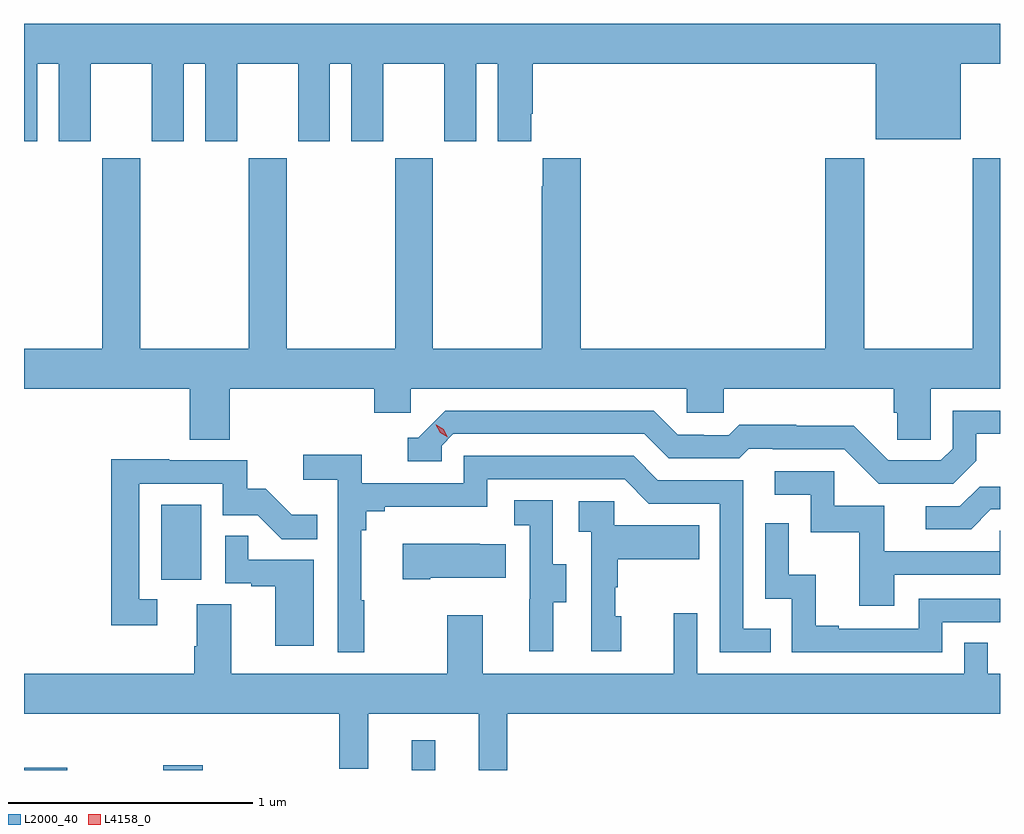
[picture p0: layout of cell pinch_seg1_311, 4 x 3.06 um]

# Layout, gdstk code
import gdstk
lib = gdstk.Library(unit=1e-6, precision=1e-09)
def R(c, l, rs):  # rectangles x0, y0, x1, y1
    for r in rs: c.add(gdstk.rectangle(r[:2], r[2:], *l))
def P(c, l, *ps):  # polygons
    for p in ps: c.add(gdstk.Polygon(p, *l))
L2000_40 = (2000, 40)
L4158_0 = (4158, 0)

pinch_seg1_311 = lib.new_cell('pinch_seg1_311')
R(pinch_seg1_311, L2000_40, [(999.256,547.505,999.433,547.516), (999.827,547.505,999.988,547.525), (1000.845,547.505,1000.942,547.627), (999.818,548.286,999.982,548.593)])
P(pinch_seg1_311, L2000_40, [(999.256,550.083),(999.31,550.083),(999.31,550.4),(999.398,550.4),(999.398,550.083),(999.529,550.083),(999.529,550.4),(999.779,550.4),(999.779,550.083),(999.91,550.083),(999.91,550.4),(999.998,550.4),(999.998,550.083),(1000.129,550.083),(1000.129,550.4),(1000.379,550.4),(1000.379,550.083),(1000.51,550.083),(1000.51,550.4),(1000.598,550.4),(1000.598,550.083),(1000.729,550.083),(1000.729,550.4),(1000.979,550.4),(1000.979,550.083),(1001.11,550.083),(1001.11,550.4),(1001.198,550.4),(1001.198,550.083),(1001.335,550.083),(1001.335,550.195),(1001.342,550.195),(1001.342,550.4),(1002.746,550.4),(1002.746,550.091),(1003.096,550.091),(1003.096,550.4),(1003.256,550.4),(1003.256,550.564),(999.256,550.564)],
  [(1000.1,549.068),(1000.691,549.068),(1000.691,548.97),(1000.842,548.97),(1000.842,549.068),(1001.973,549.068),(1001.973,548.97),(1002.123,548.97),(1002.123,549.068),(1002.821,549.068),(1002.821,548.97),(1002.835,548.97),(1002.835,548.86),(1002.972,548.86),(1002.972,549.068),(1003.256,549.068),(1003.256,550.012),(1003.144,550.012),(1003.144,549.232),(1002.699,549.232),(1002.699,550.012),(1002.539,550.012),(1002.539,549.232),(1001.537,549.232),(1001.537,550.012),(1001.381,550.012),(1001.381,549.899),(1001.377,549.899),(1001.377,549.232),(1000.932,549.232),(1000.932,550.012),(1000.777,550.012),(1000.777,549.232),(1000.332,549.232),(1000.332,550.012),(1000.177,550.012),(1000.177,549.232),(999.732,549.232),(999.732,550.012),(999.577,550.012),(999.577,549.232),(999.256,549.232),(999.256,549.068),(999.935,549.068),(999.935,548.86),(1000.1,548.86)],
  [(1003.159,548.773),(1003.159,548.883),(1003.256,548.883),(1003.256,548.979),(1003.062,548.979),(1003.062,548.823),(1003.014,548.775),(1002.798,548.775),(1002.656,548.917),(1002.42,548.917),(1002.42,548.92),(1002.187,548.92),(1002.145,548.877),(1002.042,548.877),(1002.042,548.88),(1001.935,548.88),(1001.836,548.979),(1000.983,548.979),(1000.872,548.868),(1000.829,548.868),(1000.829,548.772),(1000.968,548.772),(1000.968,548.835),(1001.016,548.883),(1001.799,548.883),(1001.898,548.784),(1002.187,548.784),(1002.226,548.823),(1002.325,548.823),(1002.325,548.82),(1002.618,548.82),(1002.759,548.679),(1003.065,548.679)],
  [(1000.651,548.201),(1000.639,548.201),(1000.639,548.489),(1000.658,548.489),(1000.658,548.566),(1000.735,548.566),(1000.735,548.585),(1001.154,548.585),(1001.154,548.697),(1001.718,548.697),(1001.817,548.598),(1002.108,548.598),(1002.108,547.989),(1002.317,547.989),(1002.317,548.085),(1002.204,548.085),(1002.204,548.694),(1001.854,548.694),(1001.755,548.793),(1001.058,548.793),(1001.058,548.682),(1000.64,548.682),(1000.64,548.798),(1000.401,548.798),(1000.401,548.696),(1000.542,548.696),(1000.542,547.989),(1000.651,547.989)],
  [(999.802,548.205),(999.729,548.205),(999.729,548.679),(1000.071,548.679),(1000.071,548.55),(1000.215,548.55),(1000.313,548.452),(1000.457,548.452),(1000.457,548.551),(1000.353,548.551),(1000.246,548.658),(1000.17,548.658),(1000.17,548.775),(999.851,548.775),(999.851,548.78),(999.613,548.78),(999.613,548.1),(999.802,548.1)],
  [(1002.823,548.307),(1003.256,548.307),(1003.256,548.487),(1003.255,548.487),(1003.255,548.403),(1002.781,548.403),(1002.781,548.589),(1002.576,548.589),(1002.576,548.73),(1002.333,548.73),(1002.333,548.634),(1002.48,548.634),(1002.48,548.481),(1002.679,548.481),(1002.679,548.178),(1002.823,548.178)],
  [(1003.219,548.574),(1003.256,548.574),(1003.256,548.666),(1003.172,548.666),(1003.092,548.586),(1002.951,548.586),(1002.951,548.493),(1003.138,548.493)],
  [(1001.425,548.194),(1001.479,548.194),(1001.479,548.349),(1001.424,548.349),(1001.424,548.612),(1001.265,548.612),(1001.265,548.509),(1001.328,548.509),(1001.328,548.205),(1001.327,548.205),(1001.327,547.992),(1001.425,547.992)],
  [(1001.704,548.136),(1001.679,548.136),(1001.679,548.255),(1001.689,548.255),(1001.689,548.369),(1002.023,548.369),(1002.023,548.509),(1001.676,548.509),(1001.676,548.607),(1001.529,548.607),(1001.529,548.483),(1001.58,548.483),(1001.58,547.992),(1001.704,547.992)],
  [(1003.02,548.112),(1003.256,548.112),(1003.256,548.208),(1002.924,548.208),(1002.924,548.085),(1002.595,548.085),(1002.595,548.098),(1002.5,548.098),(1002.5,548.306),(1002.39,548.306),(1002.39,548.518),(1002.294,548.518),(1002.294,548.208),(1002.402,548.208),(1002.402,547.989),(1003.02,547.989)],
  [(1000.444,548.367),(1000.175,548.367),(1000.175,548.465),(1000.08,548.465),(1000.08,548.271),(1000.187,548.271),(1000.187,548.259),(1000.286,548.259),(1000.286,548.016),(1000.444,548.016)],
  [(1000.921,548.294),(1001.231,548.294),(1001.231,548.431),(1001.123,548.431),(1001.123,548.434),(1000.809,548.434),(1000.809,548.287),(1000.921,548.287)],
  [(1000.549,547.511),(1000.667,547.511),(1000.667,547.736),(1001.12,547.736),(1001.12,547.505),(1001.237,547.505),(1001.237,547.736),(1003.256,547.736),(1003.256,547.9),(1003.206,547.9),(1003.206,548.027),(1003.11,548.027),(1003.11,547.9),(1002.015,547.9),(1002.015,548.149),(1001.918,548.149),(1001.918,547.9),(1001.137,547.9),(1001.137,548.14),(1000.99,548.14),(1000.99,547.9),(1000.105,547.9),(1000.105,548.186),(999.965,548.186),(999.965,548.012),(999.953,548.012),(999.953,547.9),(999.256,547.9),(999.256,547.736),(1000.549,547.736)])
P(pinch_seg1_311, L4158_0, [(1000.992,548.87),(1000.961,548.888),(1000.944,548.92),(1000.944,548.921),(1000.945,548.921),(1000.976,548.902),(1000.992,548.87),(1000.992,548.87)])

lib.write_gds('pinch_seg1_311.gds')
